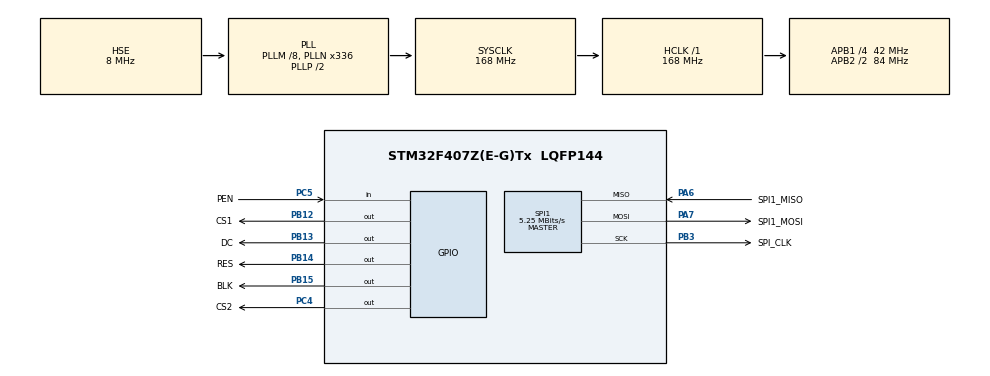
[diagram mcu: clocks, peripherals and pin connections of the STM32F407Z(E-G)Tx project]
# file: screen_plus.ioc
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Mcu.Family=STM32F4
Mcu.Name=STM32F407Z(E-G)Tx
Mcu.Package=LQFP144
NVIC.PriorityGroup=NVIC_PRIORITYGROUP_4
PA13.Mode=Serial_Wire
PA13.Signal=SYS_JTMS-SWDIO
PA14.Mode=Serial_Wire
PA14.Signal=SYS_JTCK-SWCLK
PA6.GPIO_Label=SPI1_MISO
PA6.Mode=Full_Duplex_Master
PA6.Signal=SPI1_MISO
PA7.GPIO_Label=SPI1_MOSI
PA7.Mode=Full_Duplex_Master
PA7.Signal=SPI1_MOSI
PB12.GPIO_Label=CS1
PB12.GPIO_Speed=GPIO_SPEED_FREQ_HIGH
PB12.PinState=GPIO_PIN_SET
PB12.Signal=GPIO_Output
PB13.GPIO_Label=DC
PB13.GPIO_Speed=GPIO_SPEED_FREQ_HIGH
PB13.PinState=GPIO_PIN_SET
PB13.Signal=GPIO_Output
PB14.GPIO_Label=RES
PB14.GPIO_Speed=GPIO_SPEED_FREQ_HIGH
PB14.PinState=GPIO_PIN_SET
PB14.Signal=GPIO_Output
PB15.GPIO_Label=BLK
PB15.GPIO_Speed=GPIO_SPEED_FREQ_HIGH
PB15.Signal=GPIO_Output
PB3.GPIO_Label=SPI_CLK
PB3.Mode=Full_Duplex_Master
PB3.Signal=SPI1_SCK
PC4.GPIO_Label=CS2
PC4.GPIO_Speed=GPIO_SPEED_FREQ_HIGH
PC4.PinState=GPIO_PIN_SET
PC4.Signal=GPIO_Output
PC5.GPIO_Label=PEN
PC5.GPIO_PuPd=GPIO_PULLUP
PC5.Signal=GPIO_Input
PH0-OSC_IN.Mode=HSE-External-Oscillator
PH0-OSC_IN.Signal=RCC_OSC_IN
PH1-OSC_OUT.Mode=HSE-External-Oscillator
PH1-OSC_OUT.Signal=RCC_OSC_OUT
ProjectManager.HeapSize=0x200
ProjectManager.StackSize=0x400
ProjectManager.TargetToolchain=MDK-ARM V5.32
RCC.48MHZClocksFreq_Value=84000000
RCC.AHBFreq_Value=168000000
RCC.APB1CLKDivider=RCC_HCLK_DIV4
RCC.APB1Freq_Value=42000000
RCC.APB1TimFreq_Value=84000000
RCC.APB2CLKDivider=RCC_HCLK_DIV2
RCC.APB2Freq_Value=84000000
RCC.APB2TimFreq_Value=168000000
RCC.CortexFreq_Value=168000000
RCC.HCLKFreq_Value=168000000
RCC.HSE_VALUE=8000000
RCC.HSI_VALUE=16000000
RCC.LSE_VALUE=32768
RCC.PLLM=8
RCC.PLLN=336
RCC.PLLSourceVirtual=RCC_PLLSOURCE_HSE
RCC.SYSCLKFreq_VALUE=168000000
RCC.SYSCLKSource=RCC_SYSCLKSOURCE_PLLCLK
RCC.VCOOutputFreq_Value=336000000
SPI1.BaudRatePrescaler=SPI_BAUDRATEPRESCALER_16
SPI1.CalculateBaudRate=5.25 MBits/s
SPI1.Direction=SPI_DIRECTION_2LINES
SPI1.Mode=SPI_MODE_MASTER
SPI1.VirtualType=VM_MASTER
board=custom

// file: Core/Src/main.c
/* USER CODE BEGIN Header */
/**
  ******************************************************************************
  * @file           : main.c
  * @brief          : Main program body - spectrum analyser, dual-mode
  *
  *          === MODE SELECTION (g_spectrum_mode, recompile & flash) ===
  *
  *            g_spectrum_mode = 0 -> Single Frequency
  *              - Only g_target_freq_MHz shows pulse power
  *              - Front-end pre-filtered, other freqs = noise floor (-60 dBm)
  *              - Power pulse: 0 -> peak -> 0 -> bounce -> 0 (fast)
  *              - Title: "Spectrum Analyzer"
  *              - Bottom bar (flat): Left=Freq(MHz), Right=Power(dBm)
  *              - X-axis shows target frequency value
  *
  *            g_spectrum_mode = 1 -> Sweep Frequency
  *              - 80-100 MHz, 100 kHz step, 15 seconds total
  *              - Spectrum fills left-to-right as sweep progresses
  *              - Title: "sweep frequency"
  *              - After sweep: AM detection shows 5 values:
  *                fc, Pc, fs, Ps, ma (carrier freq/pwr, sideband freq/pwr,
  *                modulation index). If no sideband: fs=0, Ps=0, ma=0
  *
  *          === FREQUENCY CONFIG (Mode 0 only) ===
  *
  *            g_target_freq_MHz sets target frequency, range 80.00 - 100.00 MHz
  *
  *          === DATA SOURCE TOGGLE ===
  *
  *            USE_REAL_SWEEP_DATA  0 = simulated sweep data (debug)
  *            USE_REAL_SWEEP_DATA  1 = real data via Spectrum_SweepSetData()
  *
  *          === EXAMPLES ===
  *            Ex 1 - 90 MHz single-freq pulse:
  *              volatile uint8_t g_spectrum_mode   = 0;
  *              volatile float   g_target_freq_MHz = 90.00f;
  *
  *            Ex 2 - Sweep + AM detection:
  *              volatile uint8_t g_spectrum_mode   = 1;
  *
  *            Ex 3 - Sweep with real external data:
  *              volatile uint8_t  g_spectrum_mode    = 1;
  *              #define USE_REAL_SWEEP_DATA  1
  ******************************************************************************
  */
/* USER CODE END Header */
#include "main.h"
#include "spi.h"
#include "gpio.h"

/* USER CODE BEGIN Includes */
#include "lcd_st7796.h"
#include "spectrum_display.h"
/* USER CODE END Includes */

/* USER CODE BEGIN PV */

/* ---- Mode Selection -------------------------------------------------------
 *
 *  g_spectrum_mode:
 *    0 = Single-freq (pulse power, title "Spectrum Analyzer")
 *    1 = Sweep  (80-100 MHz + AM, title "sweep frequency")
 *
 *  g_target_freq_MHz:
 *    Target frequency in single-freq mode (80.00 - 100.00 MHz)
 *    Ignored in sweep mode.
 *
 *  USE_REAL_SWEEP_DATA:
 *    0 = Simulated sweep data via sweep_generate_data() (debug)
 *    1 = Real external data via Spectrum_SweepSetData()
 *
 *  Runtime switching: modify volatile vars via debugger.
 * ------------------------------------------------------------------------ */
#define USE_REAL_SWEEP_DATA  0   /* 0=simulated sweep,  1=real external data */

volatile uint8_t g_spectrum_mode   = 1;       /* 0=single-freq,  1=sweep      */
volatile float   g_target_freq_MHz = 90.00f;  /* target freq for Mode 0 (MHz) */

/* ---- Real data placeholder (replace with your own module) -------------- */
#if USE_REAL_SWEEP_DATA
/* Example: include your detector header here */
/* #include "my_rf_detector.h" */

/*
 *  Call this to fill a 200-point array from your hardware.
 *  Replace the body with actual ADC / FFT / detector reads.
 */
static void external_fetch_sweep_data(spectrum_signal_t *buf, uint16_t count)
{
    uint16_t i;
    float f_step = (SWEEP_FREQ_END_MHZ - SWEEP_FREQ_START_MHZ)
                   / (float)(count - 1U);
    for (i = 0U; i < count; i++) {
        buf[i].freq_MHz  = SWEEP_FREQ_START_MHZ + (float)i * f_step;
        buf[i].power_dBm = SPECTRUM_Y_MIN_DBM;           /* <- replace with */
        /* buf[i].power_dBm = my_detector_read_dBm(i);      your real data  */
    }
}
#endif /* USE_REAL_SWEEP_DATA */

/* USER CODE END PV */

void SystemClock_Config(void);

int main(void)
{

  /* MCU Configuration--------------------------------------------------------*/

  /* Reset of all peripherals, Initializes the Flash interface and the Systick. */
  HAL_Init();

  /* Configure the system clock */
  SystemClock_Config();

  /* Initialize all configured peripherals */
  MX_GPIO_Init();
  MX_SPI1_Init();
  /* USER CODE BEGIN 2 */

  /* Disable touch chip on shared SPI bus to avoid bus contention */
  HAL_GPIO_WritePin(CS2_GPIO_Port, CS2_Pin, GPIO_PIN_SET);

  /* Turn off backlight during init to avoid flicker */
  HAL_GPIO_WritePin(BLK_GPIO_Port, BLK_Pin, GPIO_PIN_RESET);

  /* Initialise the ST7796 in landscape mode (480x320) */
  ST7796_Init();

  /* ---- Per-mode initialisation ---- */
  if (g_spectrum_mode == SPECTRUM_MODE_SWEEP) {
#if USE_REAL_SWEEP_DATA
      /* ---- Real data path ---- */
      spectrum_signal_t init_data[SPECTRUM_MAX_POINTS];
      external_fetch_sweep_data(init_data, SPECTRUM_MAX_POINTS);
      Spectrum_SweepSetData(init_data, SPECTRUM_MAX_POINTS);
#else
      /* ---- Simulated data path ---- */
      Spectrum_SweepInit();
#endif
  }

  /* USER CODE END 2 */

  /* Infinite loop */
  while (1)
  {

    /* USER CODE BEGIN 3 */

    /* Read mode each frame to support runtime switching via debugger */
    uint8_t current_mode = g_spectrum_mode;

    /* =================================================================
     *  MODE 0 - Single-frequency (pulse signal, pre-filtered)
     *
     *  Only g_target_freq_MHz shows a non-zero power value.
     *  Power waveform: rapid rise -> peak -> fall -> bounce -> quiet.
     *
     *  Replace simulate_pulse_power() with real ADC reading:
     *      float power = ReadADCPower_dBm();
     * ================================================================= */
    if (current_mode == SPECTRUM_MODE_SINGLE_FREQ) {

        /* Clamp target frequency to valid range */
        float freq = g_target_freq_MHz;
        if (freq < SWEEP_FREQ_START_MHZ) freq = SWEEP_FREQ_START_MHZ;
        if (freq > SWEEP_FREQ_END_MHZ)  freq = SWEEP_FREQ_END_MHZ;

        /*
         *  Pulse power source - currently simulated (800 ms period).
         *  Replace with real ADC / detector for competition.
         */
        float power = simulate_pulse_power();

        Spectrum_SingleFreqDraw(freq, power);

        HAL_Delay(50U);   /* ~20 fps */
    }

    /* =================================================================
     *  MODE 1 - Sweep  (80-100 MHz over 15 s, 100 kHz steps)
     *
     *  Spectrum fills left-to-right.  After sweep completes, AM
     *  detection runs and results display in the bottom bar.
     *  After a 2-second hold, the sweep restarts.
     *
     *  Real data path (USE_REAL_SWEEP_DATA=1):
     *    1. external_fetch_sweep_data() fills 200-point array
     *    2. Spectrum_SweepSetData() injects into sweep engine
     *    3. Spectrum_SweepDraw() renders as before
     *
     *  Simulated path (USE_REAL_SWEEP_DATA=0):
     *    Spectrum_SweepInit() generates 200 points internally.
     * ================================================================= */
    else   /* current_mode == SPECTRUM_MODE_SWEEP */
    {
        static uint32_t sweep_start_ms = 0U;
        static uint8_t  sweep_running  = 0U;

        if (!sweep_running) {
#if USE_REAL_SWEEP_DATA
            spectrum_signal_t real_data[SPECTRUM_MAX_POINTS];
            external_fetch_sweep_data(real_data, SPECTRUM_MAX_POINTS);
            Spectrum_SweepSetData(real_data, SPECTRUM_MAX_POINTS);
#else
            Spectrum_SweepInit();
#endif
            sweep_start_ms = HAL_GetTick();
            sweep_running  = 1U;
        }

        uint32_t now_ms     = HAL_GetTick();
        uint32_t elapsed_ms;

        /* Handle 32-bit tick wrap-around gracefully */
        if (now_ms >= sweep_start_ms) {
            elapsed_ms = now_ms - sweep_start_ms;
        } else {
            sweep_start_ms = now_ms;
            elapsed_ms     = 0U;
#if USE_REAL_SWEEP_DATA
            {
                spectrum_signal_t real_data[SPECTRUM_MAX_POINTS];
                external_fetch_sweep_data(real_data, SPECTRUM_MAX_POINTS);
                Spectrum_SweepSetData(real_data, SPECTRUM_MAX_POINTS);
            }
#else
            Spectrum_SweepInit();
#endif
        }

        Spectrum_SweepDraw((float)elapsed_ms);

        /* When sweep completes, pause then restart */
        if (elapsed_ms >= SWEEP_TOTAL_TIME_MS) {
            HAL_Delay(2000U);
#if USE_REAL_SWEEP_DATA
            {
                spectrum_signal_t real_data[SPECTRUM_MAX_POINTS];
                external_fetch_sweep_data(real_data, SPECTRUM_MAX_POINTS);
                Spectrum_SweepSetData(real_data, SPECTRUM_MAX_POINTS);
            }
#else
            Spectrum_SweepInit();
#endif
            sweep_start_ms = HAL_GetTick();
        }

        HAL_Delay(50U);   /* ~20 fps */
    }
  }
  /* USER CODE END 3 */
}

void SystemClock_Config(void)
{
  RCC_OscInitTypeDef RCC_OscInitStruct = {0};
  RCC_ClkInitTypeDef RCC_ClkInitStruct = {0};

  /** Configure the main internal regulator output voltage
  */
  __HAL_RCC_PWR_CLK_ENABLE();
  __HAL_PWR_VOLTAGESCALING_CONFIG(PWR_REGULATOR_VOLTAGE_SCALE1);

  /** Initializes the RCC Oscillators according to the specified parameters
  * in the RCC_OscInitTypeDef structure.
  */
  RCC_OscInitStruct.OscillatorType = RCC_OSCILLATORTYPE_HSE;
  RCC_OscInitStruct.HSEState = RCC_HSE_ON;
  RCC_OscInitStruct.PLL.PLLState = RCC_PLL_ON;
  RCC_OscInitStruct.PLL.PLLSource = RCC_PLLSOURCE_HSE;
  RCC_OscInitStruct.PLL.PLLM = 8;
  RCC_OscInitStruct.PLL.PLLN = 336;
  RCC_OscInitStruct.PLL.PLLP = RCC_PLLP_DIV2;
  RCC_OscInitStruct.PLL.PLLQ = 4;
  if (HAL_RCC_OscConfig(&RCC_OscInitStruct) != HAL_OK)
  {
    Error_Handler();
  }

  /** Initializes the CPU, AHB and APB buses clocks
  */
  RCC_ClkInitStruct.ClockType = RCC_CLOCKTYPE_HCLK|RCC_CLOCKTYPE_SYSCLK
                              |RCC_CLOCKTYPE_PCLK1|RCC_CLOCKTYPE_PCLK2;
  RCC_ClkInitStruct.SYSCLKSource = RCC_SYSCLKSOURCE_PLLCLK;
  RCC_ClkInitStruct.AHBCLKDivider = RCC_SYSCLK_DIV1;
  RCC_ClkInitStruct.APB1CLKDivider = RCC_HCLK_DIV4;
  RCC_ClkInitStruct.APB2CLKDivider = RCC_HCLK_DIV2;

  if (HAL_RCC_ClockConfig(&RCC_ClkInitStruct, FLASH_LATENCY_5) != HAL_OK)
  {
    Error_Handler();
  }
}

void Error_Handler(void)
{
  __disable_irq();
  while (1)
  {
  }
}
